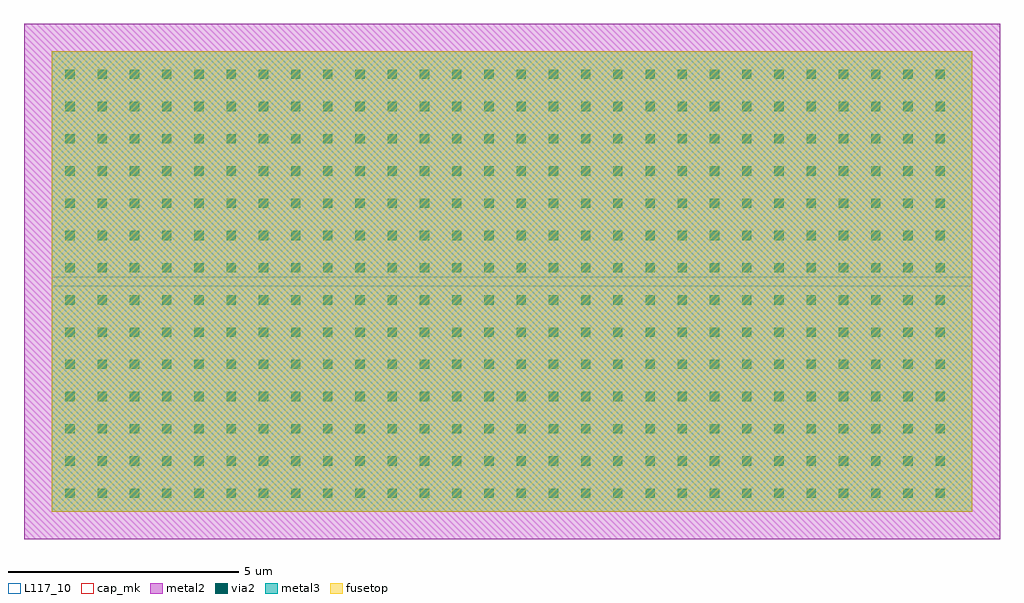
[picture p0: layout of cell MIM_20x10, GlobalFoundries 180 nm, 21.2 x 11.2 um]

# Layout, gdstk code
import gdstk
lib = gdstk.Library(unit=1e-6, precision=1e-09)
def R(c, l, rs):  # rectangles x0, y0, x1, y1
    for r in rs: c.add(gdstk.rectangle(r[:2], r[2:], *l))
def A(c, l, x, y, w, h, nx, ny, dx, dy):  # array of equal rectangles
    R(c, l, [(x+i*dx, y+j*dy, x+i*dx+w, y+j*dy+h) for i in range(nx) for j in range(ny)])
metal2 = (36, 0)
via2 = (38, 0)
metal3 = (42, 0)
fusetop = (75, 0)
cap_mk = (117, 5)
L117_10 = (117, 10)

mim_20x10 = lib.new_cell('MIM_20x10')
R(mim_20x10, metal2, [(-10.6,-5.6,10.6,5.6)])
A(mim_20x10, via2, -9.7, -4.7, 0.2, 0.2, 28, 14, 0.7, 0.7)
R(mim_20x10, metal3, [(-10,-5,10,5)])
R(mim_20x10, fusetop, [(-10,-5,10,5)])
R(mim_20x10, cap_mk, [(-10,-5,10,5)])
R(mim_20x10, L117_10, [(-10,-0.1,10,0.1)])

lib.write_gds('MIM_20x10.gds')
